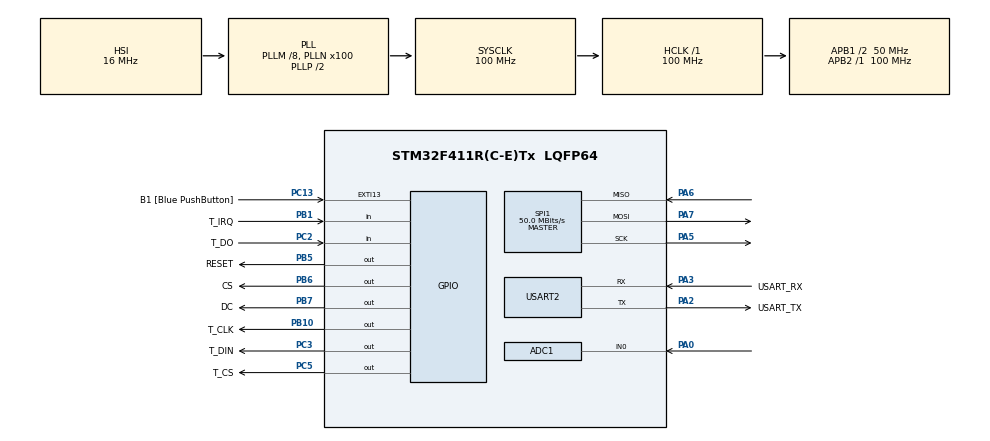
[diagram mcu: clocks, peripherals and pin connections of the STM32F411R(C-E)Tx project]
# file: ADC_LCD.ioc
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ADC1.Channel-1\#ChannelRegularConversion=ADC_CHANNEL_0
ADC1.ClockPrescaler=ADC_CLOCK_SYNC_PCLK_DIV8
ADC1.ContinuousConvMode=ENABLE
ADC1.DMAContinuousRequests=ENABLE
ADC1.EOCSelection=ADC_EOC_SEQ_CONV
ADC1.NbrOfConversion=1
ADC1.NbrOfConversionFlag=1
ADC1.Rank-1\#ChannelRegularConversion=1
ADC1.SamplingTime-1\#ChannelRegularConversion=ADC_SAMPLETIME_480CYCLES
ADC1.ScanConvMode=DISABLE
ADC1.master=1
Dma.ADC1.0.Direction=DMA_PERIPH_TO_MEMORY
Dma.ADC1.0.FIFOMode=DMA_FIFOMODE_DISABLE
Dma.ADC1.0.Instance=DMA2_Stream4
Dma.ADC1.0.MemDataAlignment=DMA_MDATAALIGN_WORD
Dma.ADC1.0.MemInc=DMA_MINC_ENABLE
Dma.ADC1.0.Mode=DMA_CIRCULAR
Dma.ADC1.0.PeriphDataAlignment=DMA_PDATAALIGN_WORD
Dma.ADC1.0.PeriphInc=DMA_PINC_DISABLE
Dma.ADC1.0.Priority=DMA_PRIORITY_LOW
Dma.Request0=ADC1
FREERTOS.HEAP_NUMBER=5
FREERTOS.Mutexes01=mutexLCD,Dynamic,NULL
FREERTOS.Queues01=iconQueue,5,uint8_t,0,Dynamic,NULL,NULL
FREERTOS.Tasks01=TouchscreenRead,24,512,vTouchscreenRead,Default,NULL,Dynamic,NULL,NULL;ADC_Readout,24,2048,vADC_Readout,Default,NULL,Dynamic,NULL,NULL
FREERTOS.configCHECK_FOR_STACK_OVERFLOW=2
FREERTOS.configTICK_RATE_HZ=100
Mcu.Family=STM32F4
Mcu.Name=STM32F411R(C-E)Tx
Mcu.Package=LQFP64
Mcu.UserConstants=NO_CONVERSIONS,10
NVIC.PriorityGroup=NVIC_PRIORITYGROUP_4
NVIC.TIM1_UP_TIM10_IRQn=true\:0\:0\:false\:false\:true\:false\:false\:true
NVIC.TimeBase=TIM1_UP_TIM10_IRQn
NVIC.TimeBaseIP=TIM1
PA0-WKUP.Signal=ADCx_IN0
PA13.GPIO_Label=TMS
PA13.Mode=Serial_Wire
PA13.Signal=SYS_JTMS-SWDIO
PA14.GPIO_Label=TCK
PA14.Mode=Serial_Wire
PA14.Signal=SYS_JTCK-SWCLK
PA2.GPIO_Label=USART_TX
PA2.Mode=Asynchronous
PA2.Signal=USART2_TX
PA3.GPIO_Label=USART_RX
PA3.Mode=Asynchronous
PA3.Signal=USART2_RX
PA5.Mode=Full_Duplex_Master
PA5.Signal=SPI1_SCK
PA6.Mode=Full_Duplex_Master
PA6.Signal=SPI1_MISO
PA7.Mode=Full_Duplex_Master
PA7.Signal=SPI1_MOSI
PB1.GPIO_Label=T_IRQ
PB1.Signal=GPIO_Input
PB10.GPIO_Label=T_CLK
PB10.Signal=GPIO_Output
PB3.GPIO_Label=SWO
PB3.Signal=SYS_JTDO-SWO
PB5.GPIO_Label=RESET
PB5.Signal=GPIO_Output
PB6.GPIO_Label=CS
PB6.Signal=GPIO_Output
PB7.GPIO_Label=DC
PB7.Signal=GPIO_Output
PC13-ANTI_TAMP.GPIO_Label=B1 [Blue PushButton]
PC13-ANTI_TAMP.GPIO_ModeDefaultEXTI=GPIO_MODE_IT_FALLING
PC13-ANTI_TAMP.Signal=GPXTI13
PC14-OSC32_IN.Signal=RCC_OSC32_IN
PC15-OSC32_OUT.Signal=RCC_OSC32_OUT
PC2.GPIO_Label=T_DO
PC2.Signal=GPIO_Input
PC3.GPIO_Label=T_DIN
PC3.Signal=GPIO_Output
PC5.GPIO_Label=T_CS
PC5.Signal=GPIO_Output
PH0\ -\ OSC_IN.Signal=RCC_OSC_IN
PH1\ -\ OSC_OUT.Signal=RCC_OSC_OUT
ProjectManager.HeapSize=0x200
ProjectManager.StackSize=0x400
ProjectManager.TargetToolchain=STM32CubeIDE
RCC.48MHZClocksFreq_Value=50000000
RCC.AHBFreq_Value=100000000
RCC.APB1CLKDivider=RCC_HCLK_DIV2
RCC.APB1Freq_Value=50000000
RCC.APB1TimFreq_Value=100000000
RCC.APB2Freq_Value=100000000
RCC.APB2TimFreq_Value=100000000
RCC.CortexFreq_Value=100000000
RCC.FLatency-AdvancedSettings=FLASH_LATENCY_3
RCC.HCLKFreq_Value=100000000
RCC.HSE_VALUE=8000000
RCC.HSI_VALUE=16000000
RCC.LSE_VALUE=32768
RCC.PLLM=8
RCC.PLLN=100
RCC.SYSCLKFreq_VALUE=100000000
RCC.SYSCLKSource=RCC_SYSCLKSOURCE_PLLCLK
RCC.VCOOutputFreq_Value=200000000
SH.ADCx_IN0.0=ADC1_IN0,IN0
SPI1.CalculateBaudRate=50.0 MBits/s
SPI1.Direction=SPI_DIRECTION_2LINES
SPI1.Mode=SPI_MODE_MASTER
SPI1.VirtualType=VM_MASTER
USART2.VirtualMode=VM_ASYNC
VP_FREERTOS_VS_CMSIS_V2.Mode=CMSIS_V2
VP_SYS_VS_tim1.Mode=TIM1
board=NUCLEO-F411RE

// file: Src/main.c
/* USER CODE BEGIN Header */
/**
 ******************************************************************************
 * @file           : main.c
 * @brief          : Main program body
 ******************************************************************************
 * @attention
 *
 * <h2><center>&copy; Copyright (c) 2019 STMicroelectronics.
 * All rights reserved.</center></h2>
 *
 * This software component is licensed by ST under BSD 3-Clause license,
 * the "License"; You may not use this file except in compliance with the
 * License. You may obtain a copy of the License at:
 *                        opensource.org/licenses/BSD-3-Clause
 *
 ******************************************************************************
 */
/* USER CODE END Header */

#include "main.h"
#include "cmsis_os.h"
#include "adc.h"
#include "dma.h"
#include "spi.h"
#include "usart.h"
#include "gpio.h"

/* USER CODE BEGIN Includes */
#include "ILI9341_Driver.h"
#include "display.h"
/* USER CODE END Includes */

/* USER CODE BEGIN PV */
/* Private variables ---------------------------------------------------------*/
/* USER CODE END PV */

void SystemClock_Config(void);
void MX_FREERTOS_Init(void);
/* USER CODE BEGIN PFP */
/* Private function prototypes -----------------------------------------------*/

/* USER CODE END PFP */

int main(void)
{

  /* MCU Configuration--------------------------------------------------------*/

  /* Reset of all peripherals, Initializes the Flash interface and the Systick. */
  HAL_Init();

  /* Configure the system clock */
  SystemClock_Config();

  /* Initialize all configured peripherals */
  MX_GPIO_Init();
  MX_DMA_Init();
  MX_SPI1_Init();
  MX_USART2_UART_Init();
  MX_ADC1_Init();
  /* USER CODE BEGIN 2 */
	//initial driver setup to drive ili9341
	ILI9341_Init();
	ILI9341_Set_Rotation(0);
	ILI9341_Fill_Screen(BLACK);
	HAL_Delay(500);
	ILI9341_Set_Rotation(SCREEN_HORIZONTAL_2); /* Draw border for the menu */
	ILI9341_Draw_Empty_Rectangle(YELLOW, 10, 10, 310, 230);
	// Menu icons
	Display_ADCChannelIcon_60x40("TEMP", 65, 55);
	Display_ADCChannelIcon_60x40("VREF", 160, 55);
	Display_ADCChannelIcon_60x40("AIN0", 255, 55);
	//Display_ADCChannelIcon_60x40("Scope", 65, 120);
  /* USER CODE END 2 */

  /* Call init function for freertos objects (in freertos.c) */
  MX_FREERTOS_Init();

  /* Start scheduler */
  osKernelStart();

  /* We should never get here as control is now taken by the scheduler */

  /* Infinite loop */
	while (1) {

	}
}

void SystemClock_Config(void)
{
  RCC_OscInitTypeDef RCC_OscInitStruct = {0};
  RCC_ClkInitTypeDef RCC_ClkInitStruct = {0};

  /** Configure the main internal regulator output voltage
  */
  __HAL_RCC_PWR_CLK_ENABLE();
  __HAL_PWR_VOLTAGESCALING_CONFIG(PWR_REGULATOR_VOLTAGE_SCALE1);
  /** Initializes the CPU, AHB and APB busses clocks
  */
  RCC_OscInitStruct.OscillatorType = RCC_OSCILLATORTYPE_HSI;
  RCC_OscInitStruct.HSIState = RCC_HSI_ON;
  RCC_OscInitStruct.HSICalibrationValue = RCC_HSICALIBRATION_DEFAULT;
  RCC_OscInitStruct.PLL.PLLState = RCC_PLL_ON;
  RCC_OscInitStruct.PLL.PLLSource = RCC_PLLSOURCE_HSI;
  RCC_OscInitStruct.PLL.PLLM = 8;
  RCC_OscInitStruct.PLL.PLLN = 100;
  RCC_OscInitStruct.PLL.PLLP = RCC_PLLP_DIV2;
  RCC_OscInitStruct.PLL.PLLQ = 4;
  if (HAL_RCC_OscConfig(&RCC_OscInitStruct) != HAL_OK)
  {
    Error_Handler();
  }
  /** Initializes the CPU, AHB and APB busses clocks
  */
  RCC_ClkInitStruct.ClockType = RCC_CLOCKTYPE_HCLK|RCC_CLOCKTYPE_SYSCLK
                              |RCC_CLOCKTYPE_PCLK1|RCC_CLOCKTYPE_PCLK2;
  RCC_ClkInitStruct.SYSCLKSource = RCC_SYSCLKSOURCE_PLLCLK;
  RCC_ClkInitStruct.AHBCLKDivider = RCC_SYSCLK_DIV1;
  RCC_ClkInitStruct.APB1CLKDivider = RCC_HCLK_DIV2;
  RCC_ClkInitStruct.APB2CLKDivider = RCC_HCLK_DIV1;

  if (HAL_RCC_ClockConfig(&RCC_ClkInitStruct, FLASH_LATENCY_3) != HAL_OK)
  {
    Error_Handler();
  }
}

void HAL_TIM_PeriodElapsedCallback(TIM_HandleTypeDef *htim)
{
  if (htim->Instance == TIM1) {
    HAL_IncTick();
  }
}

void Error_Handler(void)
{
}

/************************ (C) COPYRIGHT STMicroelectronics *****END OF FILE****/

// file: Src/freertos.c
/* USER CODE BEGIN Header */
/**
  ******************************************************************************
  * File Name          : freertos.c
  * Description        : Code for freertos applications
  ******************************************************************************
  * @attention
  *
  * <h2><center>&copy; Copyright (c) 2020 STMicroelectronics.
  * All rights reserved.</center></h2>
  *
  * This software component is licensed by ST under Ultimate Liberty license
  * SLA0044, the "License"; You may not use this file except in compliance with
  * the License. You may obtain a copy of the License at:
  *                             www.st.com/SLA0044
  *
  ******************************************************************************
  */
/* USER CODE END Header */

#include "FreeRTOS.h"
#include "task.h"
#include "main.h"
#include "cmsis_os.h"

/* USER CODE BEGIN Includes */
#include "stdio.h"
#include "Touch.h"
#include "adc.h"
/* USER CODE END Includes */

osThreadId_t TouchscreenReadHandle;
osThreadId_t ADC_ReadoutHandle;
osMessageQueueId_t iconQueueHandle;
osMutexId_t mutexLCDHandle;

/* USER CODE BEGIN FunctionPrototypes */
void mutexLCD_Draw_String(unsigned int x, unsigned int y, unsigned int color, unsigned int phone, char *str, unsigned char size);
/* USER CODE END FunctionPrototypes */

void vTouchscreenRead(void *argument);
void vADC_Readout(void *argument);

void MX_FREERTOS_Init(void); /* (MISRA C 2004 rule 8.1) */

/* Hook prototypes */
void vApplicationStackOverflowHook(xTaskHandle xTask, signed char *pcTaskName);

/* USER CODE BEGIN 4 */
__weak void vApplicationStackOverflowHook(xTaskHandle xTask, signed char *pcTaskName)
{
   /* Run time stack overflow checking is performed if
   configCHECK_FOR_STACK_OVERFLOW is defined to 1 or 2. This hook function is
   called if a stack overflow is detected. */
	;
	HAL_UART_Transmit(&huart2, (uint8_t *)"Stack overflow detected.", 25 , 100);
}
/* USER CODE END 4 */

void MX_FREERTOS_Init(void) {
osKernelInitialize();

  /* Create the mutex(es) */
  /* definition and creation of mutexLCD */
  const osMutexAttr_t mutexLCD_attributes = {
    .name = "mutexLCD"
  };
  mutexLCDHandle = osMutexNew(&mutexLCD_attributes);

  /* Create the queue(s) */
  /* definition and creation of iconQueue */
  const osMessageQueueAttr_t iconQueue_attributes = {
    .name = "iconQueue"
  };
  iconQueueHandle = osMessageQueueNew (5, sizeof(uint8_t), &iconQueue_attributes);

  /* Create the thread(s) */
  /* definition and creation of TouchscreenRead */
  const osThreadAttr_t TouchscreenRead_attributes = {
    .name = "TouchscreenRead",
    .priority = (osPriority_t) osPriorityNormal,
    .stack_size = 512
  };
  TouchscreenReadHandle = osThreadNew(vTouchscreenRead, NULL, &TouchscreenRead_attributes);

  /* definition and creation of ADC_Readout */
  const osThreadAttr_t ADC_Readout_attributes = {
    .name = "ADC_Readout",
    .priority = (osPriority_t) osPriorityNormal,
    .stack_size = 2048
  };
  ADC_ReadoutHandle = osThreadNew(vADC_Readout, NULL, &ADC_Readout_attributes);

}

/* USER CODE BEGIN Header_vTouchscreenRead */
/**
  * @brief  Function implementing the TouchscreenRead thread.
  * @param  argument: Not used
  * @retval None
  * The function checks if the touchscreen has been pressed, and depending on the
  * press location, configures an ADC channel, and displays the channel name on LCD.
  */
/* USER CODE END Header_vTouchscreenRead */
void vTouchscreenRead(void *argument)
{

  /* USER CODE BEGIN vTouchscreenRead */
	uint8_t iconPressed = 0;
	uint16_t xtemp, ytemp;
  /* Infinite loop */
  for(;;)
  {
		tp_dev.scan(0);
		if (tp_dev.sta & TP_PRES_DOWN) {
			xtemp = TP_Read_XOY(0xD0);
			ytemp = TP_Read_XOY(0x90);

			if (xtemp > 790 && xtemp < 1300 && ytemp > 840 && ytemp < 1400 && iconPressed != 1){   // 1st icon pressed
				iconPressed = 1;
				ADC_ConfigAndRun(iconPressed);
				mutexLCD_Draw_String(80, 140, WHITE, BLACK, "Channel TEMPSENSOR", 2);
				osMessageQueuePut(iconQueueHandle, &iconPressed, 0U, 0U);
			}
			else if (xtemp > 790 && xtemp < 1300 && ytemp > 1880 && ytemp < 2560 && iconPressed != 2){   // 2nd icon pressed
				iconPressed = 2;
				ADC_ConfigAndRun(iconPressed);
				mutexLCD_Draw_String(80, 140, WHITE, BLACK, "Channel VREF      ", 2);
				osMessageQueuePut(iconQueueHandle, &iconPressed, 0U, 0U);
			}
			else if (xtemp > 790 && xtemp < 1300 && ytemp > 2900 && ytemp < 3600 && iconPressed != 3){  // 3rd icon pressed
				iconPressed = 3;
				ADC_ConfigAndRun(iconPressed);
				mutexLCD_Draw_String(80, 140, WHITE, BLACK, "Channel AIN0      ", 2);
				osMessageQueuePut(iconQueueHandle, &iconPressed, 0U, 0U);
			}
			else if (xtemp > 1400 && xtemp < 1610 && ytemp > 840 && ytemp < 1400 && iconPressed != 4){ // 4th icon pressed
				iconPressed = 4;
				ADC_ConfigAndRun(iconPressed);
				mutexLCD_Draw_String(80, 140, WHITE, BLACK, "Scope selected    ", 2);
				osMessageQueuePut(iconQueueHandle, &iconPressed, 0U, 0U);
			}

		}
	osMessageQueuePut(iconQueueHandle, &iconPressed, 0U, 0U);
    osDelay(1);
  }
  /* USER CODE END vTouchscreenRead */
}

/* USER CODE BEGIN Header_vADC_Readout */
/**
* @brief Function implementing the ADC_Readout thread.
* @param argument: Not used
* @retval None
* This function reads the ADC value, formats it, and displays it on the LCD screen.
*/
/* USER CODE END Header_vADC_Readout */
void vADC_Readout(void *argument)
{
  /* USER CODE BEGIN vADC_Readout */
	uint8_t iconPressed = 0;
	char display_string[30] = { '0' };
	osStatus_t status;

	structADCStat ADCStat;
  /* Infinite loop */
  for(;;)
  {
	status = osMessageQueueGet(iconQueueHandle, &iconPressed, NULL, 0U);
	if (status == osOK) {
		if (iconPressed){
			if (HAL_ADC_PollForConversion(&hadc1, pdMS_TO_TICKS(100)) == HAL_OK) {
				/* Calculate some statistics */
				ADC_Statistics(&ADCStat);

				/* Turn floats in LCD printable form */
				/* First the avg value */
				int intVoltage = (int)ADCStat.avg;
				int decSpaces = (int)((ADCStat.avg-intVoltage)*1000);
				snprintf(display_string, 30, "AVG: %d.%d V     ", intVoltage, decSpaces );
				HAL_UART_Transmit(&huart2, (uint8_t*) display_string, strlen(display_string), 0xFFFF);
				/* Mutex-ed function to write to the LCD */
				mutexLCD_Draw_String(80, 160, WHITE, BLACK, display_string, 2);

				/* Now the StdDev value */
				intVoltage = (int)(ADCStat.stdev*1e3);
				decSpaces = (int)((ADCStat.stdev*1e3 - intVoltage)*1000);
				snprintf(display_string, 30, "STDEV: %d.%d mV     ", intVoltage, decSpaces );
				HAL_UART_Transmit(&huart2, (uint8_t*) display_string, strlen(display_string), 0xFFFF);
				/* Mutex-ed function to write to the LCD */
				mutexLCD_Draw_String(80, 180, WHITE, BLACK, display_string, 2);

				/* Reactivate the ADC */
				HAL_ADC_Start_DMA(&hadc1, g_ADCBuffer, ADC_BUFFER_LENGTH);
			}
		}
	}
    osDelay(1);
  }
  /* USER CODE END vADC_Readout */
}

/* USER CODE BEGIN Application */
// Replace HAL timing functions with FreeRTOS functions
// Pero, Feb. 2020
//void HAL_Delay(uint32_t Delay)
//{
//    osDelay(Delay);
//}
//
//uint32_t HAL_GetTick(void)
//{
//    return osKernelGetTickCount();
//}

/* A function that draws the string using ILI9341_Draw_String() but with a mutex protection */
void mutexLCD_Draw_String(unsigned int x, unsigned int y, unsigned int color, unsigned int phone, char *str, unsigned char size){
	char err_msg[30] = {'0'};
	osStatus_t mutexAq = osMutexAcquire(mutexLCDHandle, pdMS_TO_TICKS(100));
	if (mutexAq == osOK){
		ILI9341_Draw_String(x, y, color, phone, str, size);
		osMutexRelease(mutexLCDHandle);
	}
	else {
		snprintf(err_msg, 30, "\n[ERROR] Mutex failed.");
		HAL_UART_Transmit(&huart2, (uint8_t*) err_msg, strlen(err_msg), 0xFFFF);
	}
}
/* USER CODE END Application */

/************************ (C) COPYRIGHT STMicroelectronics *****END OF FILE****/
